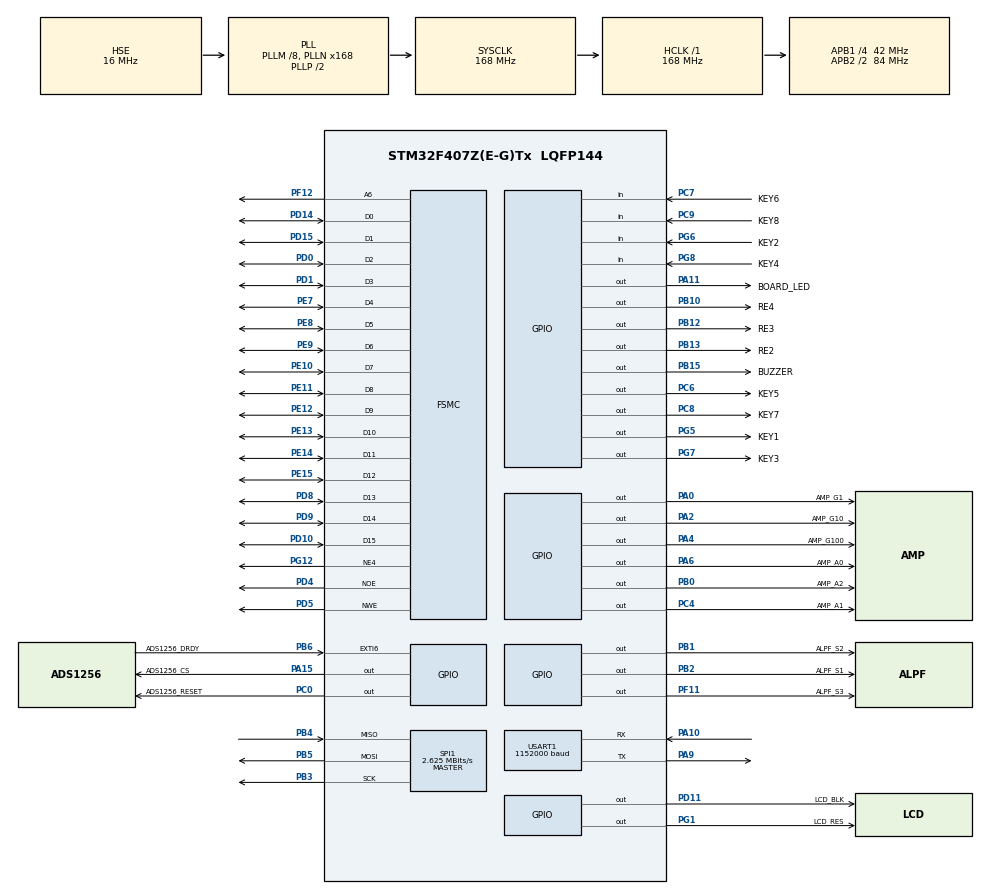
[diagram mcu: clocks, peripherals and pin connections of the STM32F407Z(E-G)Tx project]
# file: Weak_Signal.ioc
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FSMC.AddressSetupTime1=0x0F
FSMC.BusTurnAroundDuration1=0
FSMC.DataSetupTime1=0x3C
FSMC.ExtendedAddressSetupTime1=0x02
FSMC.ExtendedBusTurnAroundDuration1=0
FSMC.ExtendedDataSetupTime1=0x02
FSMC.ExtendedMode1=FSMC_EXTENDED_MODE_ENABLE
Mcu.Family=STM32F4
Mcu.Name=STM32F407Z(E-G)Tx
Mcu.Package=LQFP144
NVIC.EXTI9_5_IRQn=true\:0\:0\:true\:false\:true\:true\:true\:true
NVIC.PriorityGroup=NVIC_PRIORITYGROUP_4
NVIC.TIM6_DAC_IRQn=true\:4\:0\:true\:false\:true\:true\:true\:true
NVIC.USART1_IRQn=true\:1\:0\:true\:false\:true\:true\:true\:true
PA0-WKUP.GPIO_Label=AMP_G1
PA0-WKUP.GPIO_PuPd=GPIO_PULLDOWN
PA0-WKUP.Signal=GPIO_Output
PA10.Mode=Asynchronous
PA10.Signal=USART1_RX
PA11.GPIO_Label=BOARD_LED
PA11.PinState=GPIO_PIN_SET
PA11.Signal=GPIO_Output
PA13.Mode=Serial_Wire
PA13.Signal=SYS_JTMS-SWDIO
PA14.Mode=Serial_Wire
PA14.Signal=SYS_JTCK-SWCLK
PA15.GPIO_Label=ADS1256_CS
PA15.GPIO_PuPd=GPIO_PULLUP
PA15.GPIO_Speed=GPIO_SPEED_FREQ_VERY_HIGH
PA15.PinState=GPIO_PIN_SET
PA15.Signal=GPIO_Output
PA2.GPIO_Label=AMP_G10
PA2.GPIO_PuPd=GPIO_PULLDOWN
PA2.Signal=GPIO_Output
PA4.GPIO_Label=AMP_G100
PA4.GPIO_PuPd=GPIO_PULLDOWN
PA4.Signal=GPIO_Output
PA6.GPIO_Label=AMP_A0
PA6.GPIO_PuPd=GPIO_PULLDOWN
PA6.Signal=GPIO_Output
PA9.Mode=Asynchronous
PA9.Signal=USART1_TX
PB0.GPIO_Label=AMP_A2
PB0.GPIO_PuPd=GPIO_PULLDOWN
PB0.Signal=GPIO_Output
PB1.GPIO_Label=ALPF_S2
PB1.GPIO_PuPd=GPIO_PULLDOWN
PB1.Signal=GPIO_Output
PB10.GPIO_Label=RE4
PB10.GPIO_PuPd=GPIO_PULLUP
PB10.PinState=GPIO_PIN_SET
PB10.Signal=GPIO_Output
PB12.GPIO_Label=RE3
PB12.GPIO_PuPd=GPIO_PULLUP
PB12.PinState=GPIO_PIN_SET
PB12.Signal=GPIO_Output
PB13.GPIO_Label=RE2
PB13.GPIO_PuPd=GPIO_PULLUP
PB13.PinState=GPIO_PIN_SET
PB13.Signal=GPIO_Output
PB15.GPIO_Label=BUZZER
PB15.GPIO_PuPd=GPIO_PULLDOWN
PB15.Signal=GPIO_Output
PB2.GPIO_Label=ALPF_S1
PB2.GPIO_PuPd=GPIO_PULLDOWN
PB2.Signal=GPIO_Output
PB3.Mode=Full_Duplex_Master
PB3.Signal=SPI1_SCK
PB4.Mode=Full_Duplex_Master
PB4.Signal=SPI1_MISO
PB5.Mode=Full_Duplex_Master
PB5.Signal=SPI1_MOSI
PB6.GPIO_Label=ADS1256_DRDY
PB6.GPIO_ModeDefaultEXTI=GPIO_MODE_IT_FALLING
PB6.GPIO_PuPd=GPIO_NOPULL
PB6.Signal=GPXTI6
PC0.GPIO_Label=ADS1256_RESET
PC0.GPIO_Speed=GPIO_SPEED_FREQ_VERY_HIGH
PC0.PinState=GPIO_PIN_SET
PC0.Signal=GPIO_Output
PC14-OSC32_IN.Mode=LSE-External-Oscillator
PC14-OSC32_IN.Signal=RCC_OSC32_IN
PC15-OSC32_OUT.Mode=LSE-External-Oscillator
PC15-OSC32_OUT.Signal=RCC_OSC32_OUT
PC4.GPIO_Label=AMP_A1
PC4.GPIO_PuPd=GPIO_PULLDOWN
PC4.Signal=GPIO_Output
PC6.GPIO_Label=KEY5
PC6.GPIO_PuPd=GPIO_PULLDOWN
PC6.Signal=GPIO_Output
PC7.GPIO_Label=KEY6
PC7.GPIO_PuPd=GPIO_PULLDOWN
PC7.Signal=GPIO_Input
PC8.GPIO_Label=KEY7
PC8.GPIO_PuPd=GPIO_PULLDOWN
PC8.Signal=GPIO_Output
PC9.GPIO_Label=KEY8
PC9.GPIO_PuPd=GPIO_PULLDOWN
PC9.Signal=GPIO_Input
PD0.Signal=FSMC_D2_DA2
PD1.Signal=FSMC_D3_DA3
PD10.Signal=FSMC_D15_DA15
PD11.GPIO_Label=LCD_BLK
PD11.GPIO_PuPd=GPIO_PULLUP
PD11.PinState=GPIO_PIN_SET
PD11.Signal=GPIO_Output
PD14.Signal=FSMC_D0_DA0
PD15.Signal=FSMC_D1_DA1
PD4.Signal=FSMC_NOE
PD5.Signal=FSMC_NWE
PD8.Signal=FSMC_D13_DA13
PD9.Signal=FSMC_D14_DA14
PE10.Signal=FSMC_D7_DA7
PE11.Signal=FSMC_D8_DA8
PE12.Signal=FSMC_D9_DA9
PE13.Signal=FSMC_D10_DA10
PE14.Signal=FSMC_D11_DA11
PE15.Signal=FSMC_D12_DA12
PE7.Signal=FSMC_D4_DA4
PE8.Signal=FSMC_D5_DA5
PE9.Signal=FSMC_D6_DA6
PF11.GPIO_Label=ALPF_S3
PF11.GPIO_PuPd=GPIO_PULLDOWN
PF11.Signal=GPIO_Output
PF12.Signal=FSMC_A6
PG1.GPIO_Label=LCD_RES
PG1.GPIO_PuPd=GPIO_PULLUP
PG1.PinState=GPIO_PIN_SET
PG1.Signal=GPIO_Output
PG12.Mode=NorPsramChipSelect4_1
PG12.Signal=FSMC_NE4
PG5.GPIO_Label=KEY1
PG5.GPIO_PuPd=GPIO_PULLDOWN
PG5.PinState=GPIO_PIN_SET
PG5.Signal=GPIO_Output
PG6.GPIO_Label=KEY2
PG6.GPIO_PuPd=GPIO_PULLDOWN
PG6.Signal=GPIO_Input
PG7.GPIO_Label=KEY3
PG7.GPIO_PuPd=GPIO_PULLDOWN
PG7.Signal=GPIO_Output
PG8.GPIO_Label=KEY4
PG8.GPIO_PuPd=GPIO_PULLDOWN
PG8.Signal=GPIO_Input
PH0-OSC_IN.Mode=HSE-External-Oscillator
PH0-OSC_IN.Signal=RCC_OSC_IN
PH1-OSC_OUT.Mode=HSE-External-Oscillator
PH1-OSC_OUT.Signal=RCC_OSC_OUT
ProjectManager.HeapSize=0x200
ProjectManager.StackSize=0x400
ProjectManager.TargetToolchain=CMake
RCC.48MHZClocksFreq_Value=84000000
RCC.AHBFreq_Value=168000000
RCC.APB1CLKDivider=RCC_HCLK_DIV4
RCC.APB1Freq_Value=42000000
RCC.APB1TimFreq_Value=84000000
RCC.APB2CLKDivider=RCC_HCLK_DIV2
RCC.APB2Freq_Value=84000000
RCC.APB2TimFreq_Value=168000000
RCC.CortexFreq_Value=168000000
RCC.HCLKFreq_Value=168000000
RCC.HSE_VALUE=16000000
RCC.HSI_VALUE=16000000
RCC.PLLM=8
RCC.PLLN=168
RCC.PLLSourceVirtual=RCC_PLLSOURCE_HSE
RCC.SYSCLKFreq_VALUE=168000000
RCC.SYSCLKSource=RCC_SYSCLKSOURCE_PLLCLK
RCC.VCOOutputFreq_Value=336000000
SH.FSMC_A6.0=FSMC_A6,A6_1
SH.FSMC_D0_DA0.0=FSMC_D0,16b-d1
SH.FSMC_D10_DA10.0=FSMC_D10,16b-d1
SH.FSMC_D11_DA11.0=FSMC_D11,16b-d1
SH.FSMC_D12_DA12.0=FSMC_D12,16b-d1
SH.FSMC_D13_DA13.0=FSMC_D13,16b-d1
SH.FSMC_D14_DA14.0=FSMC_D14,16b-d1
SH.FSMC_D15_DA15.0=FSMC_D15,16b-d1
SH.FSMC_D1_DA1.0=FSMC_D1,16b-d1
SH.FSMC_D2_DA2.0=FSMC_D2,16b-d1
SH.FSMC_D3_DA3.0=FSMC_D3,16b-d1
SH.FSMC_D4_DA4.0=FSMC_D4,16b-d1
SH.FSMC_D5_DA5.0=FSMC_D5,16b-d1
SH.FSMC_D6_DA6.0=FSMC_D6,16b-d1
SH.FSMC_D7_DA7.0=FSMC_D7,16b-d1
SH.FSMC_D8_DA8.0=FSMC_D8,16b-d1
SH.FSMC_D9_DA9.0=FSMC_D9,16b-d1
SH.FSMC_NOE.0=FSMC_NOE,Lcd1
SH.FSMC_NWE.0=FSMC_NWE,Lcd1
SPI1.BaudRatePrescaler=SPI_BAUDRATEPRESCALER_32
SPI1.CLKPhase=SPI_PHASE_2EDGE
SPI1.CalculateBaudRate=2.625 MBits/s
SPI1.Direction=SPI_DIRECTION_2LINES
SPI1.Mode=SPI_MODE_MASTER
SPI1.VirtualType=VM_MASTER
STMicroelectronics.X-CUBE-ALGOBUILD.1.4.0.LibraryCcDSPOoLibraryJjDSPOoLibrary=true
TIM6.Period=10-1
TIM6.Prescaler=8400-1
TIM7.AutoReloadPreload=TIM_AUTORELOAD_PRELOAD_ENABLE
TIM7.Period=1
TIM7.Prescaler=84-1
USART1.BaudRate=1152000
USART1.VirtualMode=VM_ASYNC
VP_STMicroelectronics.X-CUBE-ALGOBUILD_VS_DSPOoLibraryJjLibrary_1.4.0_1.4.0.Mode=DSPOoLibraryJjLibrary
VP_TIM6_VS_ClockSourceINT.Mode=Enable_Timer
VP_TIM7_VS_ClockSourceINT.Mode=Enable_Timer
board=custom

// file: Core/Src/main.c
/* USER CODE BEGIN Header */
/**
  ******************************************************************************
  * @file           : main.c
  * @brief          : Main program body
  ******************************************************************************
  * @attention
  *
  * Copyright (c) 2025 STMicroelectronics.
  * All rights reserved.
  *
  * This software is licensed under terms that can be found in the LICENSE file
  * in the root directory of this software component.
  * If no LICENSE file comes with this software, it is provided AS-IS.
  *
  ******************************************************************************
  */
/* USER CODE END Header */
#include "main.h"
#include "spi.h"
#include "tim.h"
#include "usart.h"
#include "gpio.h"
#include "fsmc.h"

/* USER CODE BEGIN Includes */

#include "amp.h"
#include <stdint.h>
#include <stdio.h>
#include "beep.h"
#include "ads1256.h"
#include "atk_md0350.h"
#include "my_timer.h"
#include "pannelkey.h"
#include "arm_math.h"
#include "00_j_vofa_uart.h"
#include <stdbool.h>
#include "data_process.h"

/* USER CODE END Includes */

/* USER CODE BEGIN PTD */

AMP_Parameters_TypeDef AMP_Parameters =
{
    .amp_lpf_mode = AMP_LPF_Mode_0Hz,
    .amp_second_magnification = AMP2_Times_X1,
    .dg408_in_channel = LNA_OUT,
};

extern ADS125X_t ads;

static uint8_t freq_calculated_flag = 0;
uint8_t need_recalculate = 1;  // 初始化计算一次
static volatile uint8_t adc_ready_flag = 0;

uint16_t fft_sample_index = 0;
uint16_t fft_sample_index_control = 0;

//FFT计算变量
static FFT_Processor_TypeDef fft_processor;

//选择检测模式变量
Detect_Mode_TypeDef Detect_DC_Or_AC = DETECT_DC; // 初始化为直流模式

DisplayMode_e current_display_mode = MODE_ARM;

//rms计算变量
static RMS_Average_TypeDef rms_calculator;

//直流电压自交准系数
static DC_Calibration_TypeDef voltage_dc_cal;
static DC_Calibration_TypeDef current_dc_cal;

//交流电压自交准系数
Frequency_Calibration_TypeDef freq_40hz_cal_V;
Frequency_Calibration_TypeDef freq_80hz_cal_V;

//交流电流自交准系数
Frequency_Calibration_TypeDef freq_40hz_cal_I;
Frequency_Calibration_TypeDef freq_80hz_cal_I;

// 噪声计算变量
static Noise_Calculator_TypeDef noise_calculator;

/* USER CODE END PTD */

void SystemClock_Config(void);

int main(void)
{

  /* MCU Configuration--------------------------------------------------------*/

  /* Reset of all peripherals, Initializes the Flash interface and the Systick. */
  HAL_Init();

  /* Configure the system clock */
  SystemClock_Config();

  /* Initialize all configured peripherals */
  MX_GPIO_Init();
  MX_USART1_UART_Init();
  MX_SPI1_Init();
  MX_TIM7_Init();
  MX_TIM6_Init();
  MX_FSMC_Init();
  /* USER CODE BEGIN 2 */

  HAL_UART_Transmit_IT(&huart1,"Weak_Sig_Volt\r\n",sizeof("Weak_Sig_Volt\r\n"));

  ADS1256_Init();
  AMP_Setup(&AMP_Parameters);

  FFT_Processor_Init(&fft_processor, SAMPLE_RATE);
  RMS_Average_Init(&rms_calculator);
  DC_Calibration_Init(&voltage_dc_cal, 20.0f, 1.0f);          // 电压通道，系数为1
  DC_Calibration_Init(&current_dc_cal, 20.0f, DC_I_COEFFICIENT); // 电流通道，使用DC_I_COEFFICIENT
  Frequency_Calibration_Init(&freq_40hz_cal_V, RMS_SELF_CAL);
  Frequency_Calibration_Init(&freq_80hz_cal_V, RMS_SELF_CAL);
  Frequency_Calibration_Init(&freq_40hz_cal_I, RMS_SELF_CAL);
  Frequency_Calibration_Init(&freq_80hz_cal_I, RMS_SELF_CAL);
  Noise_Calculator_Init(&noise_calculator);

  lcd_init();

  if(current_display_mode == MODE_ARM)
    lcd_printf(0, 32 * 5, Word_Size_32, BLUE, WHITE, "MODE->ARM");
  else if(current_display_mode == MODE_PC)
    lcd_printf(0, 32 * 5, Word_Size_32, BLUE, WHITE, "MODE->PC ");

  if(AMP_Parameters.dg408_in_channel == LNA_OUT)
    lcd_printf(0, 32 * 6, Word_Size_32, BLUE, WHITE, "DETECT->Voltage");
  else if(AMP_Parameters.dg408_in_channel == Ele_Input)
    lcd_printf(0, 32 * 6, Word_Size_32, BLUE, WHITE, "DETECT->Current");

  MultTimer_Init();

  printf("All Initial is OK\r\n");

  /* USER CODE END 2 */

  /* Infinite loop */
  while (1)
  {

    /* USER CODE BEGIN 3 */

    if (adc_ready_flag) {
      adc_ready_flag = 0;
      ADS1256_Read_Data_ISR();
    }

    if(ADS1256_DATA.ReadOver)
    {
      ADS1256_DATA.ReadOver = 0;
      ADS1256_DATA.adc[0] = ADS1256_GetAdc(0);
      ADS1256_DATA.volt[0] = (int32_t)(((int64_t)ADS1256_DATA.adc[0] * 2546800) / 4194303);
      float voltage = (float)ADS1256_DATA.volt[0] / 1000.0f;
      if (current_display_mode == MODE_PC)
        Vofa_JustFloat_Send(&huart1, &voltage, 1);

      if (fft_sample_index_control < FFT_LEN) {
        ADS1256_DATA.volt_buf_control[fft_sample_index_control] = (float)ADS1256_DATA.volt[0] / 1000.0f;
        fft_sample_index_control++;
      }
    }

    if (fft_sample_index_control >= FFT_LEN) {

      if (!freq_calculated_flag) {
        /*****************************截取一段完整的周期*****************************/
        float temp_buffer_fft[FFT_LEN];
        float temp_buffer_rms[FFT_LEN];  // 用于后续处理的副本
        float temp_buffer_noise[FFT_LEN];  // 用于后续处理的副本
        float dc_component = signal_preprocess(ADS1256_DATA.volt_buf_control, FFT_LEN, temp_buffer_fft, FFT_LEN);
        // 复制数据用于后续处理
        copy_float_array(temp_buffer_fft, temp_buffer_rms, FFT_LEN);
        copy_float_array(temp_buffer_fft, temp_buffer_noise, FFT_LEN);
        /*****************************截取一段完整的周期*****************************/

        /*****************************调试时使用打印出处理的波形数据*****************************/
        if (current_display_mode == MODE_ARM) {
          for (int i = 0; i < FFT_LEN; i++) {
            Vofa_JustFloat_Send(&huart1, &temp_buffer_fft[i], 1);
          }
        }

        /*****************************调试时使用打印出处理的波形数据*****************************/

        /************************FFT计算波形频率************************/
        float peak_frequency = FFT_Calculate_Peak_Frequency(&fft_processor, temp_buffer_fft);
        lcd_printf(0,32*4,Word_Size_32,BLUE,WHITE,"Fre:%.2fHz", peak_frequency/2.0f);
        /************************FFT计算波形频率************************/

        /************************直流有效值计算************************/
        if (Detect_DC_Or_AC == DETECT_DC) {
          if (AMP_Parameters.dg408_in_channel == LNA_OUT) {
              float calibrated_dc = Process_DC_Calibration(&voltage_dc_cal, dc_component);
              lcd_printf(0, 32 * 1, Word_Size_32, BLUE, WHITE, "DC->S_RMS:%.3fuV", calibrated_dc);
              /***************************噪声计算***************************/
              // 对于直流信号，噪声主要来自电路的本底噪声和干扰
              // 由于没有特定频率需要去除，直接计算原始信号的波动作为噪声
              Calculate_DC_Noise(&noise_calculator, temp_buffer_noise, FFT_LEN, dc_component);
              lcd_printf(0, 32 * 2, Word_Size_32, BLUE, WHITE, "DC->Noise_RMS:%.3fuV", noise_calculator.averaged_noise);
              /***************************噪声计算***************************/
              /***************************计算信号和噪声的比值***************************/
              float snr_ratio = calibrated_dc / noise_calculator.averaged_noise;
              lcd_printf(0, 32 * 3, Word_Size_32, BLUE, WHITE, "DC->SNR:%.3f", snr_ratio);
              /***************************计算信号和噪声的比值***************************/

          }
          else if (AMP_Parameters.dg408_in_channel == Ele_Input) {
              float calibrated_dc = Process_DC_Calibration(&current_dc_cal, dc_component);
              lcd_printf(0, 32 * 1, Word_Size_32, BLUE, WHITE, "DC->S_RMS:%.3fpA", calibrated_dc);
              /***************************噪声计算***************************/
              // 对于直流信号，噪声主要来自电路的本底噪声和干扰
              // 由于没有特定频率需要去除，直接计算原始信号的波动作为噪声
              Calculate_DC_Noise(&noise_calculator, temp_buffer_noise, FFT_LEN, dc_component);
              lcd_printf(0, 32 * 2, Word_Size_32, BLUE, WHITE, "DC->Noise_RMS:%.3fpA", noise_calculator.averaged_noise);
              /***************************噪声计算***************************/
              /***************************计算信号和噪声的比值***************************/
              float snr_ratio = calibrated_dc / noise_calculator.averaged_noise;
              lcd_printf(0, 32 * 3, Word_Size_32, BLUE, WHITE, "DC->SNR:%.3f", snr_ratio);
              /***************************计算信号和噪声的比值***************************/
          }
        }
        /************************直流有效值计算************************/
        /************************交流有效值计算************************/
        else if (Detect_DC_Or_AC == DETECT_AC) {
          /************************平均交流有效值计算************************/
          float rms_value = RMS_Average_Update(&rms_calculator, temp_buffer_rms, FFT_LEN);
          /************************平均交流有效值计算************************/

          if (AMP_Parameters.dg408_in_channel == LNA_OUT) {
            float signal_rms = 0.0f;

            // 只有在RMS平均计算完成后才进行频率校准和显示
            if (rms_calculator.is_ready) {
                /***************************处理40Hz频率校准***************************/
                float calibrated_40hz = Process_Frequency_Calibration(&freq_40hz_cal_V, &rms_calculator,
                                                                     peak_frequency/2.0f, 40.0f,
                                                                     rms_value, 1);
                if (calibrated_40hz > 0.0f) {
                  signal_rms = calibrated_40hz / 1.141f;
                  lcd_printf(0, 32 * 1, Word_Size_32, BLUE, WHITE, "AC->S_RMS:%.3fuV,Vp:%.3fuV",
                            rms_value, calibrated_40hz);
                }

                /***************************处理80Hz频率校准***************************/
                float calibrated_80hz = Process_Frequency_Calibration(&freq_80hz_cal_V, &rms_calculator,
                                                                     peak_frequency/2.0f, 80.0f,
                                                                     rms_value, 2);

                if (calibrated_80hz > 0.0f) {
                  signal_rms = calibrated_80hz / 1.141f;
                  lcd_printf(0, 32 * 1, Word_Size_32, BLUE, WHITE, "AC->S_RMS:%.3fuV,Vp:%.3fuV",
                            rms_value, calibrated_80hz);
                }
                /***************************处理80Hz频率校准***************************/
            } else {
                // RMS平均计算尚未完成，显示等待信息
                lcd_printf(0, 32 * 1, Word_Size_32, BLUE, WHITE, "AC->Calculating...");
            }

            /***************************噪声计算***************************/
            Calculate_Noise_After_Signal_Removal(&noise_calculator,
                                                                    temp_buffer_noise,
                                                                    peak_frequency/2.0f,
                                                                    FFT_LEN);
            lcd_printf(0, 32 * 2, Word_Size_32, BLUE, WHITE, "AC->Noise_RMS:%.3fuV", noise_calculator.averaged_noise);
            lcd_printf(0, 32 * 0, Word_Size_32, BLUE, WHITE, "AC->Real_Sig_RMS:%.3fuV", signal_rms);
            /***************************噪声计算***************************/

            /***************************计算信号和噪声的比值***************************/
            float snr_ratio = 0.0f;
            if (noise_calculator.averaged_noise > 0.0f && signal_rms > 0.0f) {
                // 将信号和噪声值截断为小数点后两位
                float truncated_signal = floorf(signal_rms * 100.0f) / 100.0f;
                float truncated_noise = floorf(noise_calculator.averaged_noise * 100.0f) / 100.0f;

                if (truncated_noise > 0.0f) {
                    snr_ratio = truncated_signal / truncated_noise;
                } else {
                    snr_ratio = 0.0f;
                }
            } else {
                snr_ratio = 0.0f;  // 避免除零错误
            }
            lcd_printf(0, 32 * 3, Word_Size_32, BLUE, WHITE, "AC->SNR:%.3f", snr_ratio);
            /***************************计算信号和噪声的比值***************************/
          }
          else if (AMP_Parameters.dg408_in_channel == Ele_Input) {

            float signal_rms = 0.0f;  // 在此处定义 signal_rms

            // 只有在RMS平均计算完成后才进行频率校准和显示
            if (rms_calculator.is_ready) {
              /***************************处理40Hz频率校准***************************/
              float calibrated_40hz = Process_Frequency_Calibration(&freq_40hz_cal_I, &rms_calculator,
                                                                   peak_frequency/2.0f, 40.0f,
                                                                   rms_value, 1);
              if (calibrated_40hz > 0.0f) {
                signal_rms = calibrated_40hz / 1.141f;  // 计算真实信号RMS
                lcd_printf(0, 32 * 1, Word_Size_32, BLUE, WHITE, "AC->S_RMS:%.3fpA,Vp:%.3fpA",
                          rms_value, calibrated_40hz);
              }
              /***************************处理40Hz频率校准***************************/

              /***************************处理80Hz频率校准***************************/
              float calibrated_80hz = Process_Frequency_Calibration(&freq_80hz_cal_I, &rms_calculator,
                                                                   peak_frequency/2.0f, 80.0f,
                                                                   rms_value, 2);

              if (calibrated_80hz > 0.0f) {
                signal_rms = calibrated_80hz / 1.141f;  // 计算真实信号RMS
                lcd_printf(0, 32 * 1, Word_Size_32, BLUE, WHITE, "AC->S_RMS:%.3fpA,Vp:%.3fpA",
                          rms_value, calibrated_80hz);
              }
              /***************************处理80Hz频率校准***************************/
            }
            else {
              // RMS平均计算尚未完成，显示等待信息
              lcd_printf(0, 32 * 1, Word_Size_32, BLUE, WHITE, "AC->Calculating...");
            }

            /***************************噪声计算***************************/
            Calculate_Noise_After_Signal_Removal(&noise_calculator,
                                                                    temp_buffer_noise,
                                                                    peak_frequency/2.0f,
                                                                    FFT_LEN);

            lcd_printf(0, 32 * 2, Word_Size_32, BLUE, WHITE, "AC->Noise_RMS:%.3fpA", noise_calculator.averaged_noise);
            lcd_printf(0, 32 * 0, Word_Size_32, BLUE, WHITE, "AC->Real_Sig_RMS:%.3fpA", signal_rms);
            /***************************噪声计算***************************/

           /***************************计算信号和噪声的比值***************************/
            float snr_ratio = 0.0f;
            if (noise_calculator.averaged_noise > 0.0f && signal_rms > 0.0f) {
                // 将信号和噪声值截断为小数点后两位
                float truncated_signal = floorf(signal_rms * 100.0f) / 100.0f;
                float truncated_noise = floorf(noise_calculator.averaged_noise * 100.0f) / 100.0f;

                if (truncated_noise > 0.0f) {
                    snr_ratio = truncated_signal / truncated_noise;
                } else {
                    snr_ratio = 0.0f;
                }
            } else {
                snr_ratio = 0.0f;  // 避免除零错误
            }
            lcd_printf(0, 32 * 3, Word_Size_32, BLUE, WHITE, "AC->SNR:%.3f", snr_ratio);
            /***************************计算信号和噪声的比值***************************/

          }
        }
        /************************交流有效值计算************************/
        freq_calculated_flag = 1;
      }

      if (need_recalculate) {
        fft_sample_index_control = 0;
        freq_calculated_flag = 0;
        need_recalculate = 0;
        memset(ADS1256_DATA.volt_buf_control, 0, sizeof(ADS1256_DATA.volt_buf_control));
      }
    }
    MultiTimer_TaskHandler();
  }
  /* USER CODE END 3 */
}

void SystemClock_Config(void)
{
  RCC_OscInitTypeDef RCC_OscInitStruct = {0};
  RCC_ClkInitTypeDef RCC_ClkInitStruct = {0};

  /** Configure the main internal regulator output voltage
  */
  __HAL_RCC_PWR_CLK_ENABLE();
  __HAL_PWR_VOLTAGESCALING_CONFIG(PWR_REGULATOR_VOLTAGE_SCALE1);

  /** Initializes the RCC Oscillators according to the specified parameters
  * in the RCC_OscInitTypeDef structure.
  */
  RCC_OscInitStruct.OscillatorType = RCC_OSCILLATORTYPE_HSE;
  RCC_OscInitStruct.HSEState = RCC_HSE_ON;
  RCC_OscInitStruct.PLL.PLLState = RCC_PLL_ON;
  RCC_OscInitStruct.PLL.PLLSource = RCC_PLLSOURCE_HSE;
  RCC_OscInitStruct.PLL.PLLM = 8;
  RCC_OscInitStruct.PLL.PLLN = 168;
  RCC_OscInitStruct.PLL.PLLP = RCC_PLLP_DIV2;
  RCC_OscInitStruct.PLL.PLLQ = 4;
  if (HAL_RCC_OscConfig(&RCC_OscInitStruct) != HAL_OK)
  {
    Error_Handler();
  }

  /** Initializes the CPU, AHB and APB buses clocks
  */
  RCC_ClkInitStruct.ClockType = RCC_CLOCKTYPE_HCLK|RCC_CLOCKTYPE_SYSCLK
                              |RCC_CLOCKTYPE_PCLK1|RCC_CLOCKTYPE_PCLK2;
  RCC_ClkInitStruct.SYSCLKSource = RCC_SYSCLKSOURCE_PLLCLK;
  RCC_ClkInitStruct.AHBCLKDivider = RCC_SYSCLK_DIV1;
  RCC_ClkInitStruct.APB1CLKDivider = RCC_HCLK_DIV4;
  RCC_ClkInitStruct.APB2CLKDivider = RCC_HCLK_DIV2;

  if (HAL_RCC_ClockConfig(&RCC_ClkInitStruct, FLASH_LATENCY_5) != HAL_OK)
  {
    Error_Handler();
  }
}

/* USER CODE BEGIN 4 */

void HAL_TIM_PeriodElapsedCallback(TIM_HandleTypeDef *htim)
{
  if(htim->Instance == TIM6)
  {
    MultiTimer_Update();
  }
}

void HAL_GPIO_EXTI_Callback(uint16_t GPIO_Pin)
{
  if(GPIO_Pin == ADS1256_DRDY_Pin)
  {
    adc_ready_flag = 1;
    // ADS1256_Read_Data_ISR_Fast();
  }
}

/* USER CODE END 4 */

void Error_Handler(void)
{
  __disable_irq();
  while (1)
  {
  }
}
